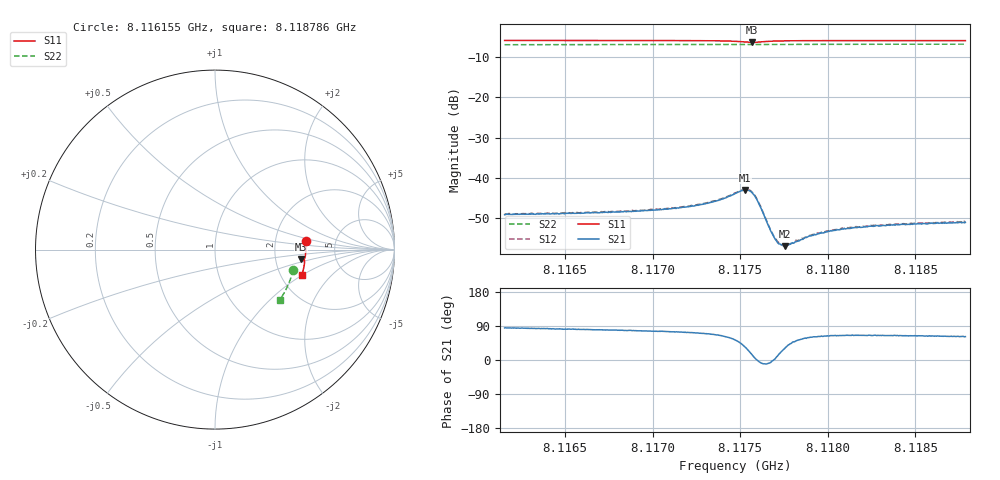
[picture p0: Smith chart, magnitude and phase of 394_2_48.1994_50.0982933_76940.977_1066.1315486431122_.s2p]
#  HZ  S  RI  R  50.00
! Rohde & Schwarz Vector Network Analyzer
! Rohde-Schwarz,ZNB20-2Port,1311601062101988,3.16
! Created: UTC 3/20/2024, 11:53:44 AM
! freq[Hz]  re:S11  im:S11  re:S21  im:S21  re:S12  im:S12  re:S22  im:S22
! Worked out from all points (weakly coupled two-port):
!   401 points, 8.116155 GHz to 8.118786 GHz, reference 50 ohm
!   highest |S21| = -42.96 dB at 8.117529 GHz (marker M1); lowest = -56.9 dB at 8.117753 GHz (marker M2)
!   lowest |S11| = -6.4 dB at 8.117569 GHz (marker M3), VSWR 2.84, Z = 139 - j19 ohm
!   |S11| at or under -10 dB: nowhere
!   |S22| runs from -7.0 to -6.8 dB; largest |S21 - S12| = 0.00019
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8.1161547e9  0.5049 0.0467  0.000318 0.00348  0.000383 0.00358  0.4349 -0.1117
8.1165954e9  0.5063 0.0134  0.000595 0.00361  0.000637 0.00365  0.4276 -0.1413
8.1170361e9  0.5051 -0.0207  0.00099 0.0039  0.00104 0.00396  0.418 -0.1706
8.1172005e9  0.5036 -0.0343  0.00129 0.00421  0.00136 0.00423  0.414 -0.1813
8.1172926e9  0.502 -0.0425  0.0016 0.00446  0.00168 0.00453  0.4114 -0.1875
8.1173912e9  0.4985 -0.0523  0.00234 0.00489  0.00244 0.00494  0.4086 -0.1938
8.1174702e9  0.4915 -0.0601  0.00383 0.00511  0.00396 0.0052  0.4062 -0.1988
8.1175293e9  0.4807 -0.0605  0.00593 0.00393  0.00604 0.00393  0.4041 -0.2021
8.1175491e9  0.4776 -0.0573  0.0064 0.00282  0.00652 0.00284  0.4034 -0.2032
8.1175688e9  0.4766 -0.0525  0.00635 0.00145  0.00648 0.00145  0.4028 -0.2043
8.117582e9  0.4777 -0.0495  0.006 0.000621  0.00612 0.000587  0.4027 -0.2049
8.1176017e9  0.4812 -0.0463  0.00504 -0.000206  0.00514 -0.000287  0.4021 -0.2062
8.1176675e9  0.4929 -0.0489  0.00238 -0.000331  0.0024 -0.000334  0.401 -0.2103
8.1177003e9  0.4959 -0.0529  0.00173 0.000111  0.00177 0.000115  0.3999 -0.2124
8.1177267e9  0.4973 -0.056  0.00144 0.000468  0.00147 0.000465  0.3993 -0.2141
8.117753e9  0.4979 -0.0591  0.00124 0.000709  0.00128 0.000729  0.3984 -0.2159
8.1177924e9  0.4988 -0.0634  0.00112 0.00108  0.00109 0.00108  0.3973 -0.2183
8.1179108e9  0.4985 -0.0749  0.000958 0.00169  0.000992 0.00172  0.3935 -0.226
8.1180687e9  0.4969 -0.0881  0.000972 0.00206  0.00101 0.0021  0.3883 -0.2358
8.1182726e9  0.494 -0.104  0.00106 0.00232  0.00113 0.00236  0.3812 -0.2483
8.1183515e9  0.4926 -0.1099  0.00111 0.00233  0.00114 0.00241  0.3783 -0.253
8.1187856e9  0.4841 -0.1417  0.00133 0.00247  0.00134 0.00252  0.3615 -0.2785
